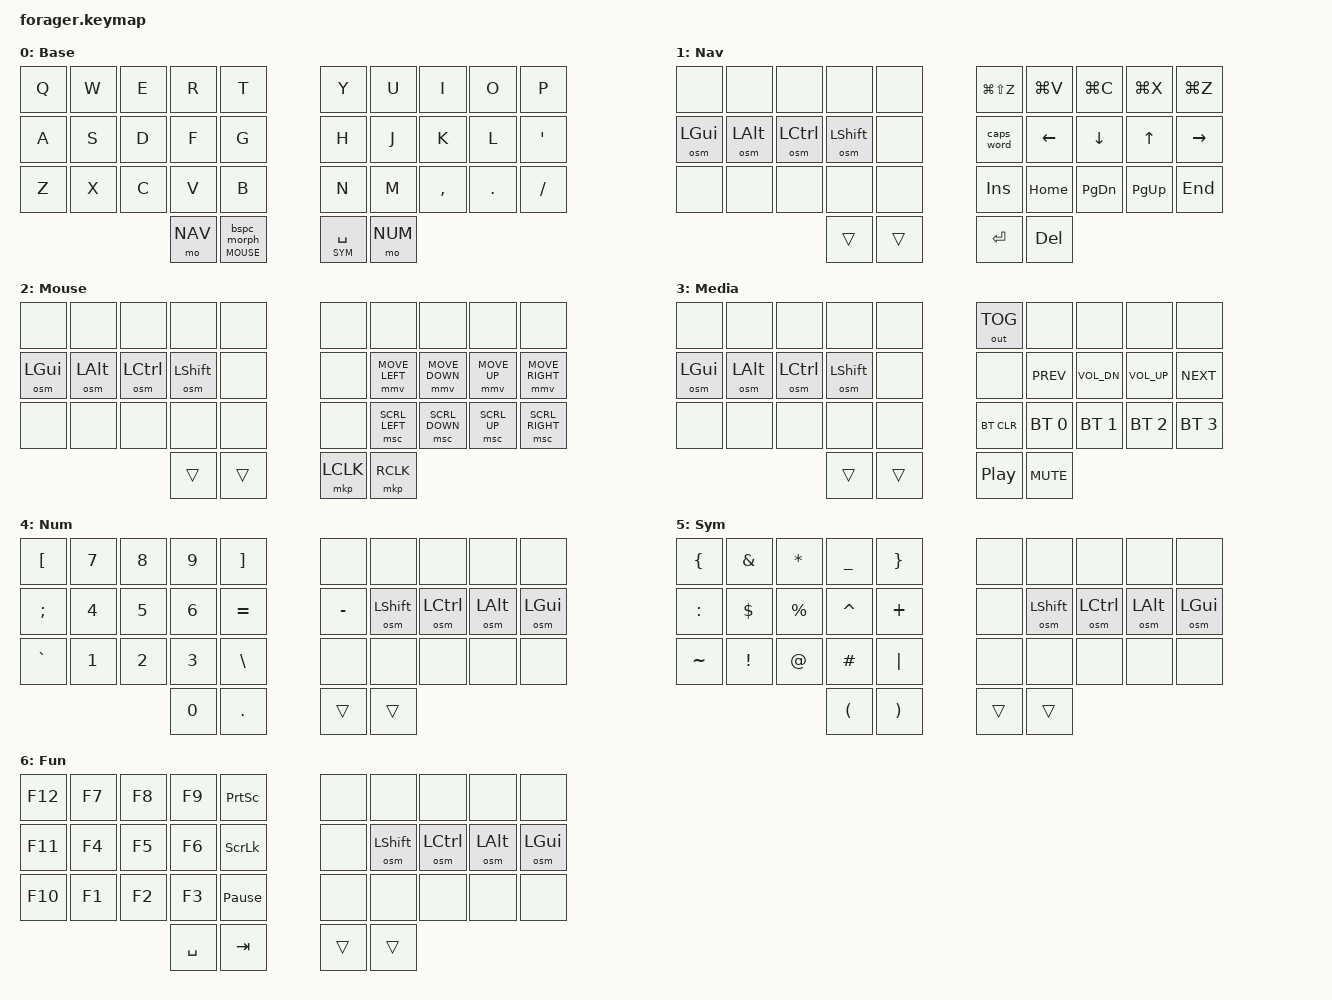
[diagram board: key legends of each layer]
/*
 * QWERTY Miryoku for the 34-key Forager.
 *
 * Layout follows Manna Harbour's Miryoku (github.com/manna-harbour/miryoku)
 * adapted to QWERTY and the Forager's 2-thumbs-per-side cluster, with
 * Callum Oakley's one-shot-mod scheme in place of home-row mods:
 *   - No mods on the base layer. One-shot mods (&osm) live on the
 *     home-row positions of the layers instead - left mods on
 *     Nav/Mouse/Media, right mods on Num/Sym/Fun, mirrored. Tap a mod,
 *     it sticks for the next key only and survives the layer release.
 *   - Outer thumbs: momentary Nav / Num (no tap).
 *   - Inner thumbs: layer-taps - tap BSPC / SPACE, hold Mouse / Sym.
 *     require-prior-idle keeps typing rolls from engaging the layer.
 *   - Media + Fun reached via symmetric tri-layers.
 *
 * Key positions:
 *    0  1  2  3  4      5  6  7  8  9
 *   10 11 12 13 14     15 16 17 18 19
 *   20 21 22 23 24     25 26 27 28 29
 *         30 31        32 33
 */

#define ZMK_POINTING_DEFAULT_MOVE_VAL 600
#define ZMK_POINTING_DEFAULT_SCRL_VAL 20

#include <behaviors.dtsi>
#include <dt-bindings/zmk/keys.h>
#include <dt-bindings/zmk/bt.h>
#include <dt-bindings/zmk/outputs.h>
#include <dt-bindings/zmk/pointing.h>

#define BASE  0
#define NAV   1
#define MOUSE 2
#define MEDIA 3
#define NUM   4
#define SYM   5
#define FUN   6

#define XXX &none
#define ___ &trans

/* macOS clipboard (Cmd-based) */
#define U_UNDO  &kp LG(Z)
#define U_REDO  &kp LG(LS(Z))
#define U_CUT   &kp LG(X)
#define U_COPY  &kp LG(C)
#define U_PASTE &kp LG(V)

/* Hyper = all four mods held (Cmd+Ctrl+Alt+Shift on macOS) */
#define HYPER LG(LC(LA(LSHFT)))

/* Mouse move / wheel */
#define U_MS_U &mmv MOVE_UP
#define U_MS_D &mmv MOVE_DOWN
#define U_MS_L &mmv MOVE_LEFT
#define U_MS_R &mmv MOVE_RIGHT
#define U_WH_U &msc SCRL_UP
#define U_WH_D &msc SCRL_DOWN
#define U_WH_L &msc SCRL_LEFT
#define U_WH_R &msc SCRL_RIGHT

/ {
    behaviors {
        /* Shift+Backspace -> forward Delete (host-independent).
         * mod-morph strips the triggering shift by default, so the
         * output is a clean DEL rather than Shift+DEL. */
        bspc_del: backspace_delete {
            compatible = "zmk,behavior-mod-morph";
            #binding-cells = <0>;
            bindings = <&kp BSPC>, <&kp DEL>;
            mods = <(MOD_LSFT|MOD_RSFT)>;
        };

        /* Callum-style one-shot mod. Tap to arm the modifier for the
         * next key press only; it survives the layer release so the
         * tap-mod / release-layer / tap-key flow works on the base
         * layer. ignore-modifiers lets several stack (Cmd+Shift+...),
         * quick-release clears cleanly on the next press, and the arm
         * auto-expires after release-after-ms if unused. */
        osm: oneshot_mod {
            compatible = "zmk,behavior-sticky-key";
            #binding-cells = <1>;
            bindings = <&kp>;
            release-after-ms = <1000>;
            quick-release;
            ignore-modifiers;
        };

        /* Inner-thumb layer-taps. require-prior-idle forces a tap when
         * the thumb follows typing, so rolls like space->next-letter
         * never engage the layer. Hold (after a brief pause) -> layer.
         *
         * Hold-taps require exactly two binding cells (one param per
         * side). bspc_del is a 0-cell mod-morph, so it can't be the tap
         * directly - bspc_morph wraps it in a 1-param macro (param
         * ignored) to give the tap side a valid 1-cell behavior. */
        lt_bspc: layer_tap_bspc {
            compatible = "zmk,behavior-hold-tap";
            #binding-cells = <2>;
            flavor = "balanced";
            tapping-term-ms = <200>;
            quick-tap-ms = <175>;
            require-prior-idle-ms = <150>;
            bindings = <&mo>, <&bspc_morph>;
        };

        lt_spc: layer_tap_spc {
            compatible = "zmk,behavior-hold-tap";
            #binding-cells = <2>;
            flavor = "balanced";
            tapping-term-ms = <200>;
            quick-tap-ms = <175>;
            require-prior-idle-ms = <150>;
            bindings = <&mo>, <&kp>;
        };
    };

    macros {
        /* 1-param wrapper so the 0-cell bspc_del morph can ride a
         * hold-tap tap slot. The parameter is unused. */
        bspc_morph: bspc_morph {
            compatible = "zmk,behavior-macro-one-param";
            #binding-cells = <1>;
            bindings = <&bspc_del>;
        };
    };

    conditional_layers {
        compatible = "zmk,conditional-layers";

        media_layer {            // Nav + Mouse (both left thumbs) -> Media.
            if-layers = <NAV MOUSE>;
            then-layer = <MEDIA>;
        };

        fun_layer {              // Num + Sym (both right thumbs) -> Fun.
            if-layers = <NUM SYM>;
            then-layer = <FUN>;
        };
    };

    combos {
        compatible = "zmk,combos";

        combo_esc {              // Q + W -> Esc ("qw" never occurs in QWERTY).
            bindings = <&kp ESC>;
            key-positions = <0 1>;
            layers = <BASE>;
            timeout-ms = <40>;
        };

        combo_tab {              // O + P -> Tab (right-hand top corner).
            bindings = <&kp TAB>;
            key-positions = <8 9>;
            layers = <BASE>;
            timeout-ms = <40>;
        };
    };

    keymap {
        compatible = "zmk,keymap";

        base_layer {
            display-name = "Base";
            bindings = <
  &kp Q          &kp W          &kp E          &kp R          &kp T              &kp Y          &kp U          &kp I          &kp O          &kp P
  &kp A          &kp S          &kp D          &kp F          &kp G              &kp H          &kp J          &kp K          &kp L          &kp SQT
  &kp Z          &kp X          &kp C          &kp V          &kp B              &kp N          &kp M          &kp COMMA      &kp DOT        &kp SLASH
                                &mo NAV        &lt_bspc MOUSE 0                  &lt_spc SYM SPACE  &mo NUM
            >;
        };

        nav_layer {
            display-name = "Nav";
            bindings = <
  XXX            XXX            XXX            XXX            XXX                U_REDO         U_PASTE        U_COPY         U_CUT          U_UNDO
  &osm LGUI      &osm LALT      &osm LCTRL     &osm LSHFT     XXX                &caps_word     &kp LEFT       &kp DOWN       &kp UP         &kp RIGHT
  XXX            XXX            XXX            XXX            XXX                &kp INS        &kp HOME       &kp PG_DN      &kp PG_UP      &kp END
                                ___            ___                               &kp RET        &kp DEL
            >;
        };

        mouse_layer {
            display-name = "Mouse";
            bindings = <
  XXX            XXX            XXX            XXX            XXX                XXX            XXX            XXX            XXX            XXX
  &osm LGUI      &osm LALT      &osm LCTRL     &osm LSHFT     XXX                XXX            U_MS_L         U_MS_D         U_MS_U         U_MS_R
  XXX            XXX            XXX            XXX            XXX                XXX            U_WH_L         U_WH_D         U_WH_U         U_WH_R
                                ___            ___                               &mkp LCLK      &mkp RCLK
            >;
        };

        media_layer {
            display-name = "Media";
            bindings = <
  XXX            XXX            XXX            XXX            XXX                &out OUT_TOG   XXX            XXX            XXX            XXX
  &osm LGUI      &osm LALT      &osm LCTRL     &osm LSHFT     XXX                XXX            &kp C_PREV     &kp C_VOL_DN   &kp C_VOL_UP   &kp C_NEXT
  XXX            XXX            XXX            XXX            XXX                &bt BT_CLR     &bt BT_SEL 0   &bt BT_SEL 1   &bt BT_SEL 2   &bt BT_SEL 3
                                ___            ___                               &kp C_PP       &kp C_MUTE
            >;
        };

        num_layer {
            display-name = "Num";
            bindings = <
  &kp LBKT       &kp N7         &kp N8         &kp N9         &kp RBKT           XXX            XXX            XXX            XXX            XXX
  &kp SEMI       &kp N4         &kp N5         &kp N6         &kp EQUAL          &kp MINUS      &osm LSHFT     &osm LCTRL     &osm LALT      &osm LGUI
  &kp GRAVE      &kp N1         &kp N2         &kp N3         &kp BSLH           XXX            XXX            XXX            XXX            XXX
                                &kp N0         &kp DOT                           ___            ___
            >;
        };

        sym_layer {
            display-name = "Sym";
            bindings = <
  &kp LBRC       &kp AMPS       &kp ASTRK      &kp UNDER      &kp RBRC           XXX            XXX            XXX            XXX            XXX
  &kp COLON      &kp DLLR       &kp PRCNT      &kp CARET      &kp PLUS           XXX            &osm LSHFT     &osm LCTRL     &osm LALT      &osm LGUI
  &kp TILDE      &kp EXCL       &kp AT         &kp HASH       &kp PIPE           XXX            XXX            XXX            XXX            XXX
                                &kp LPAR       &kp RPAR                          ___            ___
            >;
        };

        fun_layer {
            display-name = "Fun";
            bindings = <
  &kp F12        &kp F7         &kp F8         &kp F9         &kp PSCRN          XXX            XXX            XXX            XXX            XXX
  &kp F11        &kp F4         &kp F5         &kp F6         &kp SLCK           XXX            &osm LSHFT     &osm LCTRL     &osm LALT      &osm LGUI
  &kp F10        &kp F1         &kp F2         &kp F3         &kp PAUSE_BREAK    XXX            XXX            XXX            XXX            XXX
                                &kp SPACE      &kp TAB                           ___            ___
            >;
        };
    };
};
